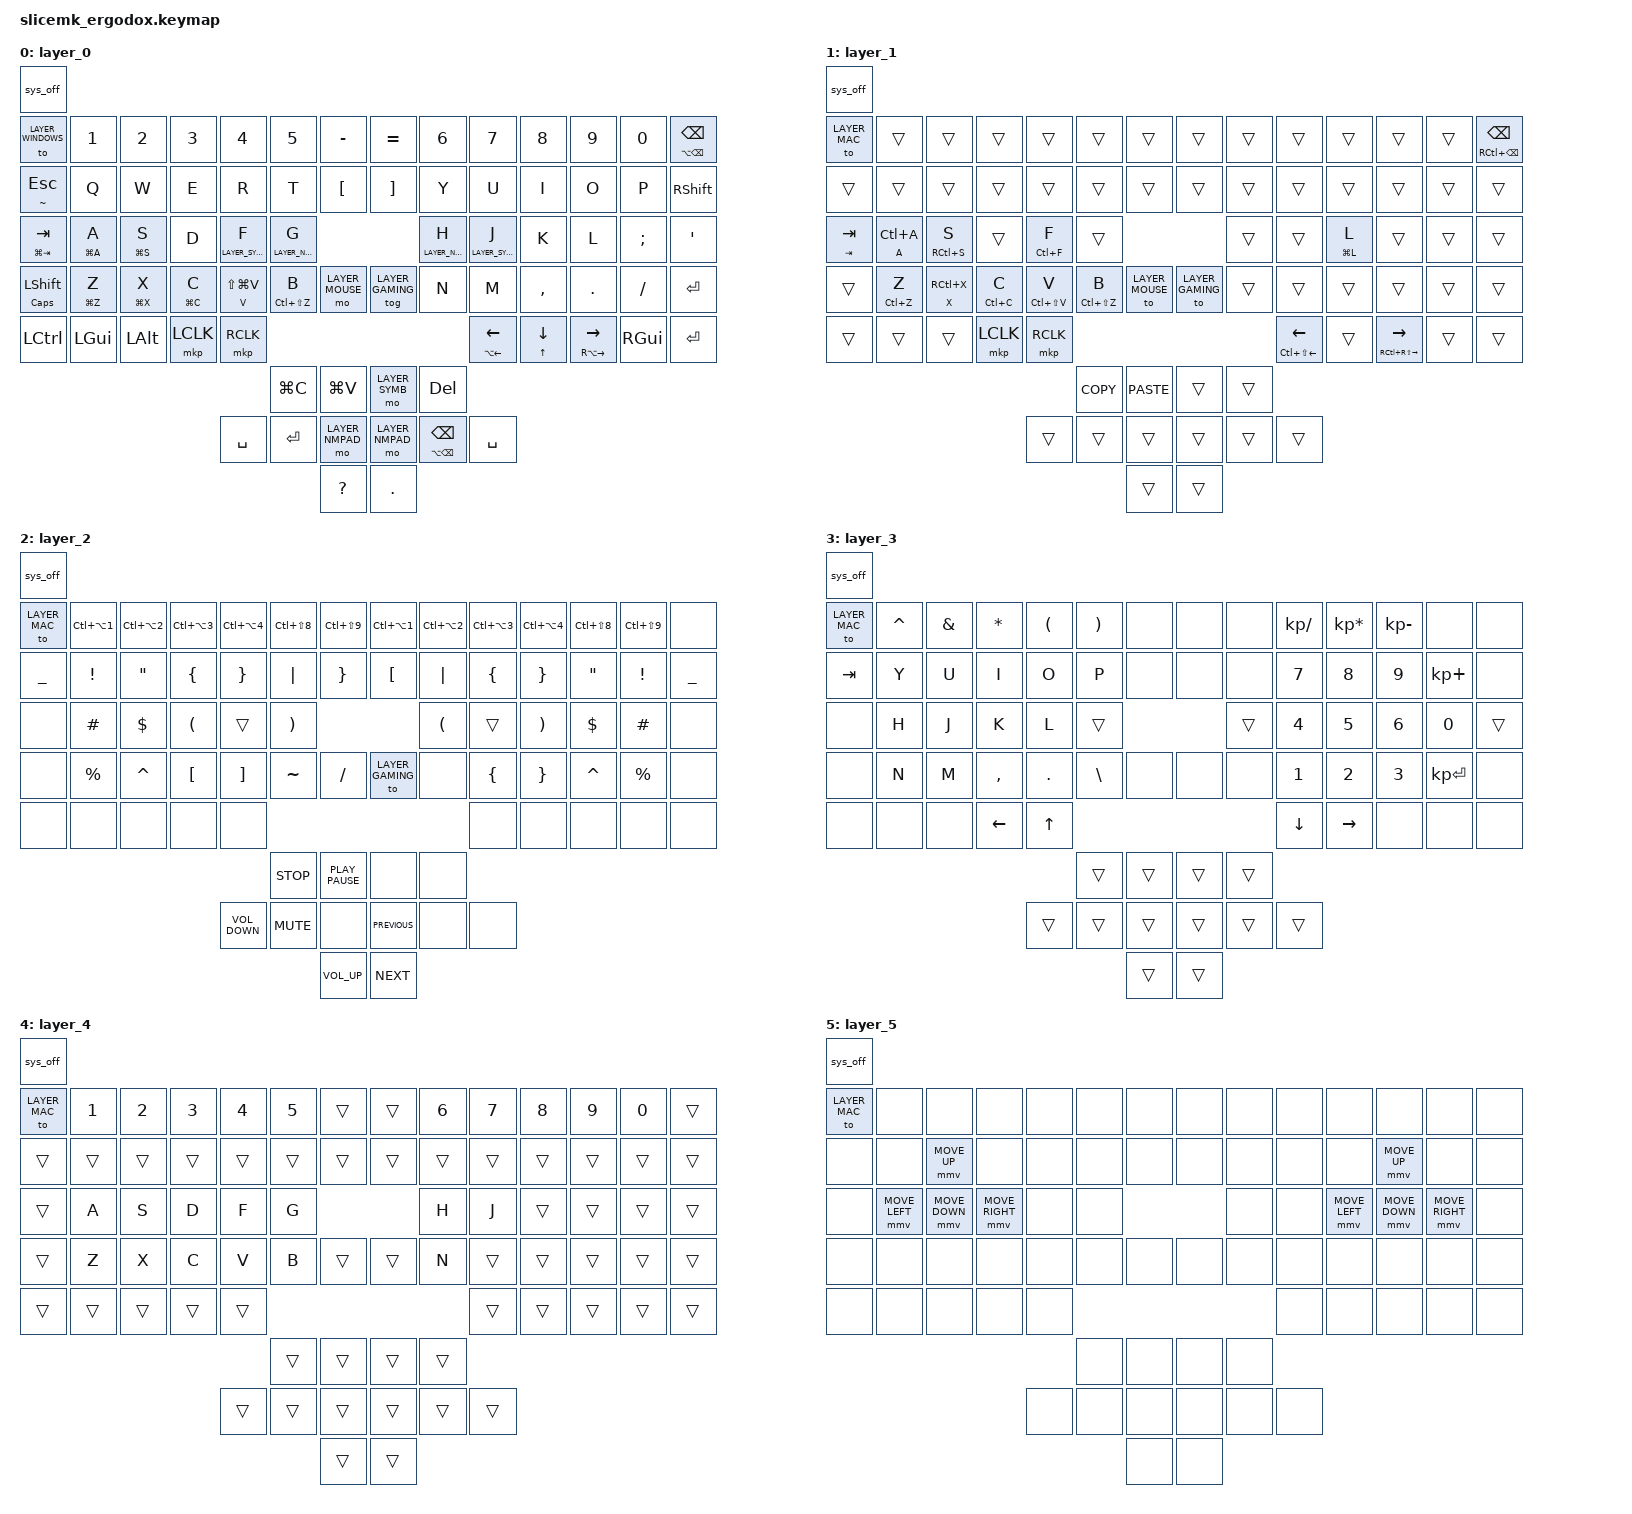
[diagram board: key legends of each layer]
#define LAYER_MAC 0
#define LAYER_WINDOWS 1
#define LAYER_SYMB 2
#define LAYER_NMPAD 3
#define LAYER_GAMING 4
#define LAYER_MOUSE 5

#include <behaviors.dtsi>
#include <dt-bindings/zmk/bt.h>
#include <dt-bindings/zmk/keys.h>
#include <dt-bindings/zmk/mouse.h>
#include <dt-bindings/zmk/outputs.h>
#include <dt-bindings/zmk/rgb.h>

/ {
	keymap {
		compatible = "zmk,keymap";
		layer_0 {
			bindings = <
				&sys_off
				&to LAYER_WINDOWS       &kp NUMBER_1 &kp NUMBER_2 &kp NUMBER_3 &kp NUMBER_4     &kp NUMBER_5      &kp MINUS        &kp EQUAL         &kp NUMBER_6                &kp NUMBER_7                  &kp NUMBER_8            &kp NUMBER_9                    &kp NUMBER_0  &mt LA(BACKSPACE) BACKSPACE
				&mt TILDE ESCAPE        &kp Q        &kp W        &kp E        &kp R            &kp T             &kp LEFT_BRACKET &kp RIGHT_BRACKET &kp Y                       &kp U                         &kp I                   &kp O                           &kp P         &kp RIGHT_SHIFT
				&mt LG(TAB) TAB         &mt LG(A) A  &mt LG(S) S  &kp D        &lt LAYER_SYMB F &lt LAYER_NMPAD G                                    &lt LAYER_NMPAD H           &lt LAYER_SYMB J              &kp K                   &kp L                           &kp SEMICOLON &kp SINGLE_QUOTE
				&mt CAPSLOCK LEFT_SHIFT &mt LG(Z) Z  &mt LG(X) X  &mt LG(C) C  &mt V LS(LG(V))  &mt LC(LS(Z)) B   &mo LAYER_MOUSE  &tog LAYER_GAMING &kp N                       &kp M                         &kp COMMA               &kp PERIOD                      &kp SLASH     &kp RETURN
				&kp LEFT_CONTROL        &kp LEFT_GUI &kp LEFT_ALT &mkp LCLK    &mkp RCLK                                                                                         &mt LA(LEFT_ARROW) LEFT_ARROW &mt UP_ARROW DOWN_ARROW &mt RA(RIGHT_ARROW) RIGHT_ARROW &kp RIGHT_GUI &kp RETURN
				                                                                                &kp LG(C)         &kp LG(V)        &mo LAYER_SYMB    &kp DELETE
				                                                               &kp SPACE        &kp RETURN        &mo LAYER_NMPAD  &mo LAYER_NMPAD   &mt LA(BACKSPACE) BACKSPACE &kp SPACE
				                                                                                                  &kp QUESTION     &kp PERIOD
			>;
		};
		layer_1 {
			bindings = <
				&sys_off
				&to LAYER_MAC &trans      &trans      &trans      &trans          &trans          &trans          &trans           &trans &trans                            &trans      &trans                              &trans &mt RC(BACKSPACE) BACKSPACE
				&trans        &trans      &trans      &trans      &trans          &trans          &trans          &trans           &trans &trans                            &trans      &trans                              &trans &trans
				&mt TAB TAB   &mt A LC(A) &mt RC(S) S &trans      &mt LC(F) F     &trans                                           &trans &trans                            &mt LG(L) L &trans                              &trans &trans
				&trans        &mt LC(Z) Z &mt X RC(X) &mt LC(C) C &mt LC(LS(V)) V &mt LC(LS(Z)) B &to LAYER_MOUSE &to LAYER_GAMING &trans &trans                            &trans      &trans                              &trans &trans
				&trans        &trans      &trans      &mkp LCLK   &mkp RCLK                                                               &mt LC(LS(LEFT_ARROW)) LEFT_ARROW &trans      &mt RC(RS(RIGHT_ARROW)) RIGHT_ARROW &trans &trans
				                                                                  &kp K_COPY      &kp K_PASTE     &trans           &trans
				                                                  &trans          &trans          &trans          &trans           &trans &trans
				                                                                                  &trans          &trans
			>;
		};
		layer_2 {
			bindings = <
				&sys_off
				&to LAYER_MAC  &kp LC(LA(NUMBER_1)) &kp LC(LA(NUMBER_2)) &kp LC(LA(NUMBER_3)) &kp LC(LA(NUMBER_4)) &kp LC(LS(NUMBER_8))  &kp LC(LS(NUMBER_9)) &kp LC(LA(NUMBER_1)) &kp LC(LA(NUMBER_2)) &kp LC(LA(NUMBER_3)) &kp LC(LA(NUMBER_4))  &kp LC(LS(NUMBER_8)) &kp LC(LS(NUMBER_9)) &none
				&kp UNDERSCORE &kp EXCLAMATION      &kp DOUBLE_QUOTES    &kp LEFT_BRACE       &kp RIGHT_BRACE      &kp PIPE              &kp RIGHT_BRACE      &kp LEFT_BRACKET     &kp PIPE             &kp LEFT_BRACE       &kp RIGHT_BRACE       &kp DOUBLE_QUOTES    &kp EXCLAMATION      &kp UNDERSCORE
				&none          &kp HASH             &kp DOLLAR           &kp LEFT_PARENTHESIS &trans               &kp RIGHT_PARENTHESIS                                           &kp LEFT_PARENTHESIS &trans               &kp RIGHT_PARENTHESIS &kp DOLLAR           &kp HASH             &none
				&none          &kp PERCENT          &kp CARET            &kp LEFT_BRACKET     &kp RIGHT_BRACKET    &kp TILDE             &kp SLASH            &to LAYER_GAMING     &none                &kp LEFT_BRACE       &kp RIGHT_BRACE       &kp CARET            &kp PERCENT          &none
				&none          &none                &none                &none                &none                                                                                                     &none                &none                 &none                &none                &none
				                                                                                                   &kp K_STOP            &kp K_PLAY_PAUSE     &none                &none
				                                                                              &kp K_VOLUME_DOWN    &kp K_MUTE            &none                &kp K_PREVIOUS       &none                &none
				                                                                                                                         &kp K_VOLUME_UP      &kp K_NEXT
			>;
		};
		layer_3 {
			bindings = <
				&sys_off
				&to LAYER_MAC &kp CARET &kp AMPERSAND &kp ASTERISK   &kp LEFT_PARENTHESIS &kp RIGHT_PARENTHESIS &none  &none  &none  &kp KP_DIVIDE  &kp KP_MULTIPLY &kp KP_MINUS &none        &none
				&kp TAB       &kp Y     &kp U         &kp I          &kp O                &kp P                 &none  &none  &none  &kp NUMBER_7   &kp NUMBER_8    &kp NUMBER_9 &kp KP_PLUS  &none
				&none         &kp H     &kp J         &kp K          &kp L                &trans                              &trans &kp NUMBER_4   &kp NUMBER_5    &kp NUMBER_6 &kp NUMBER_0 &trans
				&none         &kp N     &kp M         &kp COMMA      &kp PERIOD           &kp BACKSLASH         &none  &none  &none  &kp NUMBER_1   &kp NUMBER_2    &kp NUMBER_3 &kp KP_ENTER &none
				&none         &none     &none         &kp LEFT_ARROW &kp UP_ARROW                                                    &kp DOWN_ARROW &kp RIGHT_ARROW &none        &none        &none
				                                                                          &trans                &trans &trans &trans
				                                                     &trans               &trans                &trans &trans &trans &trans
				                                                                                                &trans &trans
			>;
		};
		layer_4 {
			bindings = <
				&sys_off
				&to LAYER_MAC &kp NUMBER_1 &kp NUMBER_2 &kp NUMBER_3 &kp NUMBER_4 &kp NUMBER_5 &trans &trans &kp NUMBER_6 &kp NUMBER_7 &kp NUMBER_8 &kp NUMBER_9 &kp NUMBER_0 &trans
				&trans        &trans       &trans       &trans       &trans       &trans       &trans &trans &trans       &trans       &trans       &trans       &trans       &trans
				&trans        &kp A        &kp S        &kp D        &kp F        &kp G                      &kp H        &kp J        &trans       &trans       &trans       &trans
				&trans        &kp Z        &kp X        &kp C        &kp V        &kp B        &trans &trans &kp N        &trans       &trans       &trans       &trans       &trans
				&trans        &trans       &trans       &trans       &trans                                               &trans       &trans       &trans       &trans       &trans
				                                                                  &trans       &trans &trans &trans
				                                                     &trans       &trans       &trans &trans &trans       &trans
				                                                                               &trans &trans
			>;
		};
		layer_5 {
			bindings = <
				&sys_off
				&to LAYER_MAC &none          &none          &none           &none &none &none &none &none &none &none          &none          &none           &none
				&none         &none          &mmv MOVE_UP   &none           &none &none &none &none &none &none &none          &mmv MOVE_UP   &none           &none
				&none         &mmv MOVE_LEFT &mmv MOVE_DOWN &mmv MOVE_RIGHT &none &none             &none &none &mmv MOVE_LEFT &mmv MOVE_DOWN &mmv MOVE_RIGHT &none
				&none         &none          &none          &none           &none &none &none &none &none &none &none          &none          &none           &none
				&none         &none          &none          &none           &none                         &none &none          &none          &none           &none
				                                                                  &none &none &none &none
				                                                            &none &none &none &none &none &none
				                                                                        &none &none
			>;
		};
	};
};
